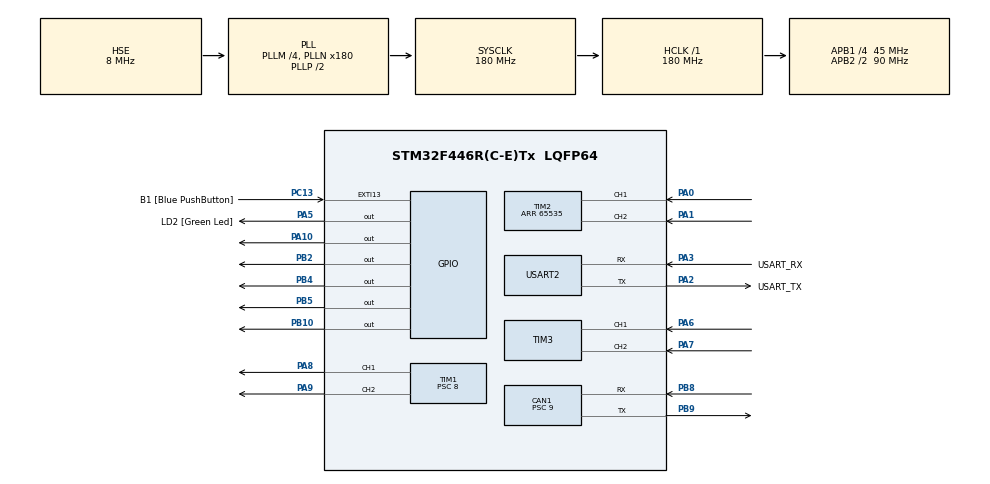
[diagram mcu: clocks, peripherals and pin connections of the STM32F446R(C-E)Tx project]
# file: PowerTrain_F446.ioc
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CAN1.ABOM=ENABLE
CAN1.AWUM=ENABLE
CAN1.BS1=CAN_BS1_7TQ
CAN1.BS2=CAN_BS2_2TQ
CAN1.CalculateBaudRate=500000
CAN1.CalculateTimeBit=2000
CAN1.CalculateTimeQuantum=200.0
CAN1.Prescaler=9
FREERTOS.Tasks01=DriveTask,2,256,StartDriveTask,Default,NULL,Dynamic,NULL,NULL;CanTxTask,0,256,StartCanTxTask,Default,NULL,Dynamic,NULL,NULL
Mcu.Family=STM32F4
Mcu.Name=STM32F446R(C-E)Tx
Mcu.Package=LQFP64
NVIC.CAN1_RX0_IRQn=true\:5\:0\:false\:false\:true\:true\:true\:true\:true
NVIC.PriorityGroup=NVIC_PRIORITYGROUP_4
NVIC.TIM5_IRQn=true\:15\:0\:false\:false\:true\:false\:false\:true\:true
NVIC.TimeBase=TIM5_IRQn
NVIC.TimeBaseIP=TIM5
PA0-WKUP.Signal=S_TIM2_CH1_ETR
PA1.Signal=S_TIM2_CH2
PA10.Signal=GPIO_Output
PA13.GPIO_Label=TMS
PA13.Mode=Serial_Wire
PA13.Signal=SYS_JTMS-SWDIO
PA14.GPIO_Label=TCK
PA14.Mode=Serial_Wire
PA14.Signal=SYS_JTCK-SWCLK
PA2.GPIO_Label=USART_TX
PA2.Mode=Asynchronous
PA2.Signal=USART2_TX
PA3.GPIO_Label=USART_RX
PA3.Mode=Asynchronous
PA3.Signal=USART2_RX
PA5.GPIO_Label=LD2 [Green Led]
PA5.Signal=GPIO_Output
PA6.Signal=S_TIM3_CH1
PA7.Signal=S_TIM3_CH2
PA8.Signal=S_TIM1_CH1
PA9.Signal=S_TIM1_CH2
PB10.Signal=GPIO_Output
PB2.Signal=GPIO_Output
PB3.GPIO_Label=SWO
PB3.Signal=SYS_JTDO-SWO
PB4.Signal=GPIO_Output
PB5.Signal=GPIO_Output
PB8.Mode=CAN_Activate
PB8.Signal=CAN1_RX
PB9.Mode=CAN_Activate
PB9.Signal=CAN1_TX
PC13.GPIO_Label=B1 [Blue PushButton]
PC13.GPIO_ModeDefaultEXTI=GPIO_MODE_IT_FALLING
PC13.Signal=GPXTI13
PC14-OSC32_IN.Mode=LSE-External-Oscillator
PC14-OSC32_IN.Signal=RCC_OSC32_IN
PC15-OSC32_OUT.Mode=LSE-External-Oscillator
PC15-OSC32_OUT.Signal=RCC_OSC32_OUT
PH0-OSC_IN.Mode=HSE-External-Oscillator
PH0-OSC_IN.Signal=RCC_OSC_IN
PH1-OSC_OUT.Mode=HSE-External-Oscillator
PH1-OSC_OUT.Signal=RCC_OSC_OUT
ProjectManager.HeapSize=0x200
ProjectManager.StackSize=0x400
ProjectManager.TargetToolchain=STM32CubeIDE
RCC.48MHZClocksFreq_Value=84000000
RCC.AHBFreq_Value=180000000
RCC.APB1CLKDivider=RCC_HCLK_DIV4
RCC.APB1Freq_Value=45000000
RCC.APB1TimFreq_Value=90000000
RCC.APB2CLKDivider=RCC_HCLK_DIV2
RCC.APB2Freq_Value=90000000
RCC.APB2TimFreq_Value=180000000
RCC.CortexFreq_Value=180000000
RCC.FLatency-AdvancedSettings=FLASH_LATENCY_5
RCC.HCLKFreq_Value=180000000
RCC.HSE_VALUE=8000000
RCC.HSI_VALUE=16000000
RCC.PLLM=4
RCC.PLLN=180
RCC.PLLSourceVirtual=RCC_PLLSOURCE_HSE
RCC.SYSCLKFreq_VALUE=180000000
RCC.SYSCLKSource=RCC_SYSCLKSOURCE_PLLCLK
RCC.USBFreq_Value=180000000
RCC.VCOOutputFreq_Value=360000000
SH.S_TIM1_CH1.0=TIM1_CH1,PWM Generation1 CH1
SH.S_TIM1_CH2.0=TIM1_CH2,PWM Generation2 CH2
SH.S_TIM2_CH1_ETR.0=TIM2_CH1,Encoder_Interface
SH.S_TIM2_CH2.0=TIM2_CH2,Encoder_Interface
SH.S_TIM3_CH1.0=TIM3_CH1,Encoder_Interface
SH.S_TIM3_CH2.0=TIM3_CH2,Encoder_Interface
TIM1.Channel-PWM\ Generation1\ CH1=TIM_CHANNEL_1
TIM1.Channel-PWM\ Generation2\ CH2=TIM_CHANNEL_2
TIM1.Period=999
TIM1.Prescaler=8
TIM2.Period=65535
USART2.VirtualMode=VM_ASYNC
VP_FREERTOS_VS_CMSIS_V1.Mode=CMSIS_V1
VP_SYS_VS_tim5.Mode=TIM5
VP_TIM1_VS_ClockSourceINT.Mode=Internal
board=NUCLEO-F446RE

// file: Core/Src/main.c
/* USER CODE BEGIN Header */
/**
  ******************************************************************************
  * @file           : main.c
  * @brief          : Main program body
  ******************************************************************************
  * @attention
  *
  * Copyright (c) 2026 STMicroelectronics.
  * All rights reserved.
  *
  * This software is licensed under terms that can be found in the LICENSE file
  * in the root directory of this software component.
  * If no LICENSE file comes with this software, it is provided AS-IS.
  *
  ******************************************************************************
  */
/* USER CODE END Header */
#include "main.h"
#include "cmsis_os.h"

/* USER CODE BEGIN Includes */
#include "model_car_net.h"
/* USER CODE END Includes */

CAN_HandleTypeDef hcan1;

TIM_HandleTypeDef htim1;
TIM_HandleTypeDef htim2;
TIM_HandleTypeDef htim3;

UART_HandleTypeDef huart2;

osThreadId DriveTaskHandle;
osThreadId CanTxTaskHandle;
/* USER CODE BEGIN PV */
/* CAN 통신용 구조체 변수 */
struct model_car_net_drive_cmd_t rx_drive_cmd;       // 수신된 주행 명령 저장용
struct model_car_net_drive_status_t tx_drive_status; // 송신할 구동 상태 저장용
struct model_car_net_heartbeat_t rx_heartbeat;       // 수신된 하트비트 저장용
struct model_car_net_gear_status_t rx_gear_status;   // 0x070 기어 상태 추가
struct model_car_net_safe_abort_t rx_safe_abort;     // 0x010 세이프 어보트 확장

/* CAN 송수신 하드웨어 핸들러 및 헤더 */
CAN_RxHeaderTypeDef rx_header;
CAN_TxHeaderTypeDef tx_header;
uint8_t rx_data[8];
uint8_t tx_data[8];
uint32_t tx_mailbox;

/* 하드웨어 테스트용 CAN 송신 변수 */
CAN_TxHeaderTypeDef test_tx_header;
uint8_t test_tx_data[8];
uint32_t test_mailbox;

/* 세이프티 및 페일세이프 관련 변수 */
volatile uint32_t cmd_watchdog_timer = 0; // 인터럽트 공유를 위해 전역으로 이동 및 volatile 적용
uint32_t supervisor_wd_timer = 0; // 하트비트 무응답 시간 누적용 (ms 단위 카운트)
uint8_t last_alive_counter = 0;   // 이전 하트비트 카운트 값 백업
bool is_emergency_active = false; // 현재 비상 정지 상태 여부 플래그
uint8_t current_gear = 0;         // 0=P, 1=D, 2=R 로컬 백업용

/* 엔코더 측정 및 속도 계산 변수 */
int16_t left_encoder_count = 0;
int16_t right_encoder_count = 0;
double current_rpm = 0.0;

/* 이전 듀티 저장용 전역 변수 */
uint32_t prev_left_duty = 0;
uint32_t prev_right_duty = 0;
/* USER CODE END PV */

void SystemClock_Config(void);
static void MX_GPIO_Init(void);
static void MX_USART2_UART_Init(void);
static void MX_CAN1_Init(void);
static void MX_TIM1_Init(void);
static void MX_TIM2_Init(void);
static void MX_TIM3_Init(void);
void StartDriveTask(void const * argument);
void StartCanTxTask(void const * argument);

/* USER CODE BEGIN PFP */
double calculate_actual_rpm(int16_t left_counts, int16_t right_counts);
/* USER CODE END PFP */

int main(void)
{

  /* MCU Configuration--------------------------------------------------------*/

  /* Reset of all peripherals, Initializes the Flash interface and the Systick. */
  HAL_Init();

  /* Configure the system clock */
  SystemClock_Config();

  /* Initialize all configured peripherals */
  MX_GPIO_Init();
  MX_USART2_UART_Init();
  MX_CAN1_Init();
  MX_TIM1_Init();
  MX_TIM2_Init();
  MX_TIM3_Init();
  /* USER CODE BEGIN 2 */
  /* ====================================================================
 * 1. CAN 하드웨어 활성화 및 필터 마스터 세팅 (PCAN-View 통신 개통용)
 * ==================================================================== */

// 모든 CAN ID를 필터링 없이 다 받아들이는 '마스터 오픈 필터' 설정
CAN_FilterTypeDef canFilter;
canFilter.FilterBank = 0;
canFilter.FilterMode = CAN_FILTERMODE_IDMASK;
canFilter.FilterScale = CAN_FILTERSCALE_32BIT;
canFilter.FilterIdHigh = 0x0000;
canFilter.FilterIdLow = 0x0000;
canFilter.FilterMaskIdHigh = 0x0000;
canFilter.FilterMaskIdLow = 0x0000;
canFilter.FilterFIFOAssignment = CAN_RX_FIFO0;
canFilter.FilterActivation = ENABLE;
canFilter.SlaveStartFilterBank = 14;

if (HAL_CAN_ConfigFilter(&hcan1, &canFilter) != HAL_OK) {
	Error_Handler(); // 필터 설정 실패 시 잠금
}

// CAN 외장 하드웨어 선로 전격 개통! (이게 켜져야 PCAN Receive가 뚫립니다)
if (HAL_CAN_Start(&hcan1) != HAL_OK) {
	Error_Handler();
}

// CAN 수신 인터럽트(FIFO0 Pending) 활성화
if (HAL_CAN_ActivateNotification(&hcan1, CAN_IT_RX_FIFO0_MSG_PENDING) != HAL_OK) {
	Error_Handler();
}

// 송신 헤더 설정
//tx_header.StdId = 0x102; // F446용 테스트 ID
//tx_header.RTR = CAN_RTR_DATA;
//tx_header.IDE = CAN_ID_STD;
//tx_header.DLC = 8;
//tx_header.TransmitGlobalTime = DISABLE;

/* ====================================================================
 * 2. 타이머 하드웨어 기동 (좌/우 모터 및 엔코더 작동 시작)
 * ==================================================================== */
// (1) TIM1 PWM 출력 채널 가동 (모터 속도 제어선 활성화)
HAL_TIM_PWM_Start(&htim1, TIM_CHANNEL_1); // PA8 (PWMA)
HAL_TIM_PWM_Start(&htim1, TIM_CHANNEL_2); // PA9 (PWMB)

// (2) TIM2, TIM3 엔코더 카운터 하드웨어 감시 기동
HAL_TIM_Encoder_Start(&htim2, TIM_CHANNEL_ALL); // 왼쪽 바퀴 엔코더 감시 시작
HAL_TIM_Encoder_Start(&htim3, TIM_CHANNEL_ALL); // 오른쪽 바퀴 엔코더 감시 시작
  /* USER CODE END 2 */

  /* Create the thread(s) */
  /* definition and creation of DriveTask */
  osThreadDef(DriveTask, StartDriveTask, osPriorityHigh, 0, 256);
  DriveTaskHandle = osThreadCreate(osThread(DriveTask), NULL);

  /* definition and creation of CanTxTask */
  osThreadDef(CanTxTask, StartCanTxTask, osPriorityNormal, 0, 256);
  CanTxTaskHandle = osThreadCreate(osThread(CanTxTask), NULL);

  /* Start scheduler */
  osKernelStart();

  /* We should never get here as control is now taken by the scheduler */

  /* Infinite loop */
  while (1)
  {

  }
}

void SystemClock_Config(void)
{
  RCC_OscInitTypeDef RCC_OscInitStruct = {0};
  RCC_ClkInitTypeDef RCC_ClkInitStruct = {0};

  /** Configure the main internal regulator output voltage
  */
  __HAL_RCC_PWR_CLK_ENABLE();
  __HAL_PWR_VOLTAGESCALING_CONFIG(PWR_REGULATOR_VOLTAGE_SCALE1);

  /** Initializes the RCC Oscillators according to the specified parameters
  * in the RCC_OscInitTypeDef structure.
  */
  RCC_OscInitStruct.OscillatorType = RCC_OSCILLATORTYPE_HSE;
  RCC_OscInitStruct.HSEState = RCC_HSE_ON;
  RCC_OscInitStruct.PLL.PLLState = RCC_PLL_ON;
  RCC_OscInitStruct.PLL.PLLSource = RCC_PLLSOURCE_HSE;
  RCC_OscInitStruct.PLL.PLLM = 4;
  RCC_OscInitStruct.PLL.PLLN = 180;
  RCC_OscInitStruct.PLL.PLLP = RCC_PLLP_DIV2;
  RCC_OscInitStruct.PLL.PLLQ = 2;
  RCC_OscInitStruct.PLL.PLLR = 2;
  if (HAL_RCC_OscConfig(&RCC_OscInitStruct) != HAL_OK)
  {
    Error_Handler();
  }

  /** Activate the Over-Drive mode
  */
  if (HAL_PWREx_EnableOverDrive() != HAL_OK)
  {
    Error_Handler();
  }

  /** Initializes the CPU, AHB and APB buses clocks
  */
  RCC_ClkInitStruct.ClockType = RCC_CLOCKTYPE_HCLK|RCC_CLOCKTYPE_SYSCLK
                              |RCC_CLOCKTYPE_PCLK1|RCC_CLOCKTYPE_PCLK2;
  RCC_ClkInitStruct.SYSCLKSource = RCC_SYSCLKSOURCE_PLLCLK;
  RCC_ClkInitStruct.AHBCLKDivider = RCC_SYSCLK_DIV1;
  RCC_ClkInitStruct.APB1CLKDivider = RCC_HCLK_DIV4;
  RCC_ClkInitStruct.APB2CLKDivider = RCC_HCLK_DIV2;

  if (HAL_RCC_ClockConfig(&RCC_ClkInitStruct, FLASH_LATENCY_5) != HAL_OK)
  {
    Error_Handler();
  }
}

static void MX_CAN1_Init(void)
{

  hcan1.Instance = CAN1;
  hcan1.Init.Prescaler = 9;
  hcan1.Init.Mode = CAN_MODE_NORMAL;
  hcan1.Init.SyncJumpWidth = CAN_SJW_1TQ;
  hcan1.Init.TimeSeg1 = CAN_BS1_7TQ;
  hcan1.Init.TimeSeg2 = CAN_BS2_2TQ;
  hcan1.Init.TimeTriggeredMode = DISABLE;
  hcan1.Init.AutoBusOff = ENABLE;
  hcan1.Init.AutoWakeUp = ENABLE;
  hcan1.Init.AutoRetransmission = DISABLE;
  hcan1.Init.ReceiveFifoLocked = DISABLE;
  hcan1.Init.TransmitFifoPriority = DISABLE;
  if (HAL_CAN_Init(&hcan1) != HAL_OK)
  {
    Error_Handler();
  }

}

static void MX_TIM1_Init(void)
{

  TIM_ClockConfigTypeDef sClockSourceConfig = {0};
  TIM_MasterConfigTypeDef sMasterConfig = {0};
  TIM_OC_InitTypeDef sConfigOC = {0};
  TIM_BreakDeadTimeConfigTypeDef sBreakDeadTimeConfig = {0};

  htim1.Instance = TIM1;
  htim1.Init.Prescaler = 8;
  htim1.Init.CounterMode = TIM_COUNTERMODE_UP;
  htim1.Init.Period = 999;
  htim1.Init.ClockDivision = TIM_CLOCKDIVISION_DIV1;
  htim1.Init.RepetitionCounter = 0;
  htim1.Init.AutoReloadPreload = TIM_AUTORELOAD_PRELOAD_DISABLE;
  if (HAL_TIM_Base_Init(&htim1) != HAL_OK)
  {
    Error_Handler();
  }
  sClockSourceConfig.ClockSource = TIM_CLOCKSOURCE_INTERNAL;
  if (HAL_TIM_ConfigClockSource(&htim1, &sClockSourceConfig) != HAL_OK)
  {
    Error_Handler();
  }
  if (HAL_TIM_PWM_Init(&htim1) != HAL_OK)
  {
    Error_Handler();
  }
  sMasterConfig.MasterOutputTrigger = TIM_TRGO_RESET;
  sMasterConfig.MasterSlaveMode = TIM_MASTERSLAVEMODE_DISABLE;
  if (HAL_TIMEx_MasterConfigSynchronization(&htim1, &sMasterConfig) != HAL_OK)
  {
    Error_Handler();
  }
  sConfigOC.OCMode = TIM_OCMODE_PWM1;
  sConfigOC.Pulse = 0;
  sConfigOC.OCPolarity = TIM_OCPOLARITY_HIGH;
  sConfigOC.OCNPolarity = TIM_OCNPOLARITY_HIGH;
  sConfigOC.OCFastMode = TIM_OCFAST_DISABLE;
  sConfigOC.OCIdleState = TIM_OCIDLESTATE_RESET;
  sConfigOC.OCNIdleState = TIM_OCNIDLESTATE_RESET;
  if (HAL_TIM_PWM_ConfigChannel(&htim1, &sConfigOC, TIM_CHANNEL_1) != HAL_OK)
  {
    Error_Handler();
  }
  if (HAL_TIM_PWM_ConfigChannel(&htim1, &sConfigOC, TIM_CHANNEL_2) != HAL_OK)
  {
    Error_Handler();
  }
  sBreakDeadTimeConfig.OffStateRunMode = TIM_OSSR_DISABLE;
  sBreakDeadTimeConfig.OffStateIDLEMode = TIM_OSSI_DISABLE;
  sBreakDeadTimeConfig.LockLevel = TIM_LOCKLEVEL_OFF;
  sBreakDeadTimeConfig.DeadTime = 0;
  sBreakDeadTimeConfig.BreakState = TIM_BREAK_DISABLE;
  sBreakDeadTimeConfig.BreakPolarity = TIM_BREAKPOLARITY_HIGH;
  sBreakDeadTimeConfig.AutomaticOutput = TIM_AUTOMATICOUTPUT_DISABLE;
  if (HAL_TIMEx_ConfigBreakDeadTime(&htim1, &sBreakDeadTimeConfig) != HAL_OK)
  {
    Error_Handler();
  }
  HAL_TIM_MspPostInit(&htim1);

}

static void MX_TIM2_Init(void)
{

  TIM_Encoder_InitTypeDef sConfig = {0};
  TIM_MasterConfigTypeDef sMasterConfig = {0};

  htim2.Instance = TIM2;
  htim2.Init.Prescaler = 0;
  htim2.Init.CounterMode = TIM_COUNTERMODE_UP;
  htim2.Init.Period = 65535;
  htim2.Init.ClockDivision = TIM_CLOCKDIVISION_DIV1;
  htim2.Init.AutoReloadPreload = TIM_AUTORELOAD_PRELOAD_DISABLE;
  sConfig.EncoderMode = TIM_ENCODERMODE_TI1;
  sConfig.IC1Polarity = TIM_ICPOLARITY_RISING;
  sConfig.IC1Selection = TIM_ICSELECTION_DIRECTTI;
  sConfig.IC1Prescaler = TIM_ICPSC_DIV1;
  sConfig.IC1Filter = 0;
  sConfig.IC2Polarity = TIM_ICPOLARITY_RISING;
  sConfig.IC2Selection = TIM_ICSELECTION_DIRECTTI;
  sConfig.IC2Prescaler = TIM_ICPSC_DIV1;
  sConfig.IC2Filter = 0;
  if (HAL_TIM_Encoder_Init(&htim2, &sConfig) != HAL_OK)
  {
    Error_Handler();
  }
  sMasterConfig.MasterOutputTrigger = TIM_TRGO_RESET;
  sMasterConfig.MasterSlaveMode = TIM_MASTERSLAVEMODE_DISABLE;
  if (HAL_TIMEx_MasterConfigSynchronization(&htim2, &sMasterConfig) != HAL_OK)
  {
    Error_Handler();
  }

}

static void MX_TIM3_Init(void)
{

  TIM_Encoder_InitTypeDef sConfig = {0};
  TIM_MasterConfigTypeDef sMasterConfig = {0};

  htim3.Instance = TIM3;
  htim3.Init.Prescaler = 0;
  htim3.Init.CounterMode = TIM_COUNTERMODE_UP;
  htim3.Init.Period = 65535;
  htim3.Init.ClockDivision = TIM_CLOCKDIVISION_DIV1;
  htim3.Init.AutoReloadPreload = TIM_AUTORELOAD_PRELOAD_DISABLE;
  sConfig.EncoderMode = TIM_ENCODERMODE_TI1;
  sConfig.IC1Polarity = TIM_ICPOLARITY_RISING;
  sConfig.IC1Selection = TIM_ICSELECTION_DIRECTTI;
  sConfig.IC1Prescaler = TIM_ICPSC_DIV1;
  sConfig.IC1Filter = 0;
  sConfig.IC2Polarity = TIM_ICPOLARITY_RISING;
  sConfig.IC2Selection = TIM_ICSELECTION_DIRECTTI;
  sConfig.IC2Prescaler = TIM_ICPSC_DIV1;
  sConfig.IC2Filter = 0;
  if (HAL_TIM_Encoder_Init(&htim3, &sConfig) != HAL_OK)
  {
    Error_Handler();
  }
  sMasterConfig.MasterOutputTrigger = TIM_TRGO_RESET;
  sMasterConfig.MasterSlaveMode = TIM_MASTERSLAVEMODE_DISABLE;
  if (HAL_TIMEx_MasterConfigSynchronization(&htim3, &sMasterConfig) != HAL_OK)
  {
    Error_Handler();
  }

}

static void MX_USART2_UART_Init(void)
{

  huart2.Instance = USART2;
  huart2.Init.BaudRate = 115200;
  huart2.Init.WordLength = UART_WORDLENGTH_8B;
  huart2.Init.StopBits = UART_STOPBITS_1;
  huart2.Init.Parity = UART_PARITY_NONE;
  huart2.Init.Mode = UART_MODE_TX_RX;
  huart2.Init.HwFlowCtl = UART_HWCONTROL_NONE;
  huart2.Init.OverSampling = UART_OVERSAMPLING_16;
  if (HAL_UART_Init(&huart2) != HAL_OK)
  {
    Error_Handler();
  }

}

static void MX_GPIO_Init(void)
{
  GPIO_InitTypeDef GPIO_InitStruct = {0};

  /* GPIO Ports Clock Enable */
  __HAL_RCC_GPIOC_CLK_ENABLE();
  __HAL_RCC_GPIOH_CLK_ENABLE();
  __HAL_RCC_GPIOA_CLK_ENABLE();
  __HAL_RCC_GPIOB_CLK_ENABLE();

  /*Configure GPIO pin Output Level */
  HAL_GPIO_WritePin(GPIOA, LD2_Pin|GPIO_PIN_10, GPIO_PIN_RESET);

  /*Configure GPIO pin Output Level */
  HAL_GPIO_WritePin(GPIOB, GPIO_PIN_2|GPIO_PIN_10|GPIO_PIN_4|GPIO_PIN_5, GPIO_PIN_RESET);

  /*Configure GPIO pin : B1_Pin */
  GPIO_InitStruct.Pin = B1_Pin;
  GPIO_InitStruct.Mode = GPIO_MODE_IT_FALLING;
  GPIO_InitStruct.Pull = GPIO_NOPULL;
  HAL_GPIO_Init(B1_GPIO_Port, &GPIO_InitStruct);

  /*Configure GPIO pins : LD2_Pin PA10 */
  GPIO_InitStruct.Pin = LD2_Pin|GPIO_PIN_10;
  GPIO_InitStruct.Mode = GPIO_MODE_OUTPUT_PP;
  GPIO_InitStruct.Pull = GPIO_NOPULL;
  GPIO_InitStruct.Speed = GPIO_SPEED_FREQ_LOW;
  HAL_GPIO_Init(GPIOA, &GPIO_InitStruct);

  /*Configure GPIO pins : PB2 PB10 PB4 PB5 */
  GPIO_InitStruct.Pin = GPIO_PIN_2|GPIO_PIN_10|GPIO_PIN_4|GPIO_PIN_5;
  GPIO_InitStruct.Mode = GPIO_MODE_OUTPUT_PP;
  GPIO_InitStruct.Pull = GPIO_NOPULL;
  GPIO_InitStruct.Speed = GPIO_SPEED_FREQ_LOW;
  HAL_GPIO_Init(GPIOB, &GPIO_InitStruct);

}

/* USER CODE BEGIN 4 */
double calculate_actual_rpm(int16_t left_counts, int16_t right_counts)
{
    // 두 바퀴의 평균 펄스 변화량
    double avg_counts = (double)(left_counts + right_counts) / 2.0;

    /* [RPM 계산 가이드라인]
     * JBG37-520 모터의 감속비가 예를 들어 1:30이고 홀센서가 한 바퀴에 11펄스를 뿜는다면,
     * 4체배 시 바퀴 1회전당 총 펄스(PPR) = 11 * 4 * 30 = 1320 펄스입니다.
     * 10ms(0.01초) 주기로 셈하므로: RPM = (avg_counts / 1320) * (60초 / 0.01초)
     */
    double ppr = 1320.0; // 팀의 모터 상세 스펙에 맞춰 수정 가능
    double actual_rpm = (avg_counts / ppr) * 6000.0;

    return actual_rpm;
}

void HAL_CAN_RxFifo0MsgPendingCallback(CAN_HandleTypeDef *hcan)
{

	if (HAL_CAN_GetRxMessage(hcan, CAN_RX_FIFO0, &rx_header, rx_data) != HAL_OK) return;

	HAL_GPIO_TogglePin(LD2_GPIO_Port, LD2_Pin); // 정상 수신 알림 점멸

	// 1. 비상 정지 수신
	if (rx_header.StdId == MODEL_CAR_NET_SAFE_ABORT_FRAME_ID) {
		model_car_net_safe_abort_unpack(&rx_safe_abort, rx_data, rx_header.DLC);
		if (rx_safe_abort.stop_flag == 1) {
			is_emergency_active = true;
		} else if (rx_safe_abort.stop_flag == 0) {
			// (3)번 문제 해결: stop_flag가 명시적으로 0이 들어오면 비상 정지 해제!
			is_emergency_active = false;
		}
	}
	// 2. 기어 상태 수신
	else if (rx_header.StdId == MODEL_CAR_NET_GEAR_STATUS_FRAME_ID) {
		model_car_net_gear_status_unpack(&rx_gear_status, rx_data, rx_header.DLC);
		current_gear = rx_gear_status.gear;
	}
	// 3. 주행 명령 수신
	else if (rx_header.StdId == MODEL_CAR_NET_DRIVE_CMD_FRAME_ID) {
		model_car_net_drive_cmd_unpack(&rx_drive_cmd, rx_data, rx_header.DLC);
		cmd_watchdog_timer = 0; // (1),(2)번 문제 해결을 위한 통신 와치독 타이머 리셋!
	}
}
/* USER CODE END 4 */

void StartDriveTask(void const * argument)
{
  /* USER CODE BEGIN 5 */
  /* Infinite loop */
  for(;;)
  {
    osDelay(10);

	if (cmd_watchdog_timer < 1000) {
		cmd_watchdog_timer += 10;
	}

	// 2. [엔코더 데이터 수집] 좌/우 타이머 카운터 레지스터에서 펄스 값 실시간 획득
	left_encoder_count  = (int16_t)__HAL_TIM_GET_COUNTER(&htim2);
	right_encoder_count = (int16_t)__HAL_TIM_GET_COUNTER(&htim3);
	__HAL_TIM_SET_COUNTER(&htim2, 0);
	__HAL_TIM_SET_COUNTER(&htim3, 0);

	// 실시간 실제 RPM 산출
	current_rpm = calculate_actual_rpm(left_encoder_count, right_encoder_count);

	// [최우선순위 안전 제어] 비상정지 락이 걸렸거나, 300ms 동안 주행명령(0x100)이 끊겼다면 (Timeout)?
	if (is_emergency_active || cmd_watchdog_timer > 300)
	{
		// 모터 즉각 정지 및 Short Brake 잠금 발동
		HAL_GPIO_WritePin(GPIOB, GPIO_PIN_5, GPIO_PIN_SET);   // IN1
		HAL_GPIO_WritePin(GPIOB, GPIO_PIN_4, GPIO_PIN_SET);   // IN2
		HAL_GPIO_WritePin(GPIOB, GPIO_PIN_10, GPIO_PIN_SET);  // IN3
		HAL_GPIO_WritePin(GPIOA, GPIO_PIN_10, GPIO_PIN_SET);  // IN4
		__HAL_TIM_SET_COMPARE(&htim1, TIM_CHANNEL_1, 0);
		__HAL_TIM_SET_COMPARE(&htim1, TIM_CHANNEL_2, 0);

		// ★ [Fail-Safe 가드 레일 보완] 비상 정지 복귀 시 Ramp 튐 현상을 막기 위해 백업 데이터 리셋
		prev_left_duty = 0;
		prev_right_duty = 0;

		// 위급 상황 시 즉각 응답 피드백 송신 (예외적으로 태스크 대기 없이 다이렉트 송신 처리)
		tx_drive_status.current_velocity = 0;
		tx_drive_status.current_gear_status = current_gear;
		tx_drive_status.drive_motor_current = 0;

		model_car_net_drive_status_pack(tx_data, &tx_drive_status, sizeof(tx_data));
		tx_header.StdId = MODEL_CAR_NET_DRIVE_STATUS_FRAME_ID; // 0x200
		tx_header.RTR = CAN_RTR_DATA;
		tx_header.IDE = CAN_ID_STD;
		tx_header.DLC = MODEL_CAR_NET_DRIVE_STATUS_LENGTH;
		HAL_CAN_AddTxMessage(&hcan1, &tx_header, tx_data, &tx_mailbox);

		osDelay(10);
		continue; // 아래 주행 로직을 스킵하고 루프 처음으로 점프
	}

	// 3. [일반 주행 제어] 기어 상태 인터록 및 상하위 속도 연산
	double brake_factor = (100.0 - (double)rx_drive_cmd.brake_depth) / 100.0;
	double v_base = (double)rx_drive_cmd.target_velocity * brake_factor;

	double K = 0.5; // 필요시 민감도를 2.5 등으로 올려서 테스트하세요!
	double v_steer = (double)rx_drive_cmd.steering_angle * K;

	double target_left_rpm  = v_base + v_steer;
	double target_right_rpm = v_base - v_steer;

	if (rx_drive_cmd.brake_depth >= 100) {
		target_left_rpm = 0; target_right_rpm = 0;
	}

	if (target_left_rpm < 0)  target_left_rpm = 0;
	if (target_right_rpm < 0) target_right_rpm = 0;

	uint32_t left_duty  = ((uint32_t)target_left_rpm * 999) / 3000;
	uint32_t right_duty = ((uint32_t)target_right_rpm * 999) / 3000;

	if (left_duty > 999)  left_duty = 999;
	if (right_duty > 999) right_duty = 999;

	#define MAX_DUTY_STEP 15
	// 왼쪽 바퀴 Ramp 적용
	if (left_duty > prev_left_duty) {
		if ((left_duty - prev_left_duty) > MAX_DUTY_STEP) left_duty = prev_left_duty + MAX_DUTY_STEP;
	} else if (left_duty < prev_left_duty) {
		if ((prev_left_duty - left_duty) > MAX_DUTY_STEP) left_duty = prev_left_duty - MAX_DUTY_STEP;
	}

	// 오른쪽 바퀴 Ramp 적용
	if (right_duty > prev_right_duty) {
		if ((right_duty - prev_right_duty) > MAX_DUTY_STEP) right_duty = prev_right_duty + MAX_DUTY_STEP;
	} else if (right_duty < prev_right_duty) {
		if ((prev_right_duty - right_duty) > MAX_DUTY_STEP) right_duty = prev_right_duty - MAX_DUTY_STEP;
	}

	// 다음 루프를 위해 현재 값 백업
	prev_left_duty = left_duty;
	prev_right_duty = right_duty;

	// [일반 주행 제어] 기어 상태 인터록 검증
	if (current_gear == 1) // 1 = Drive(D)
	{
		HAL_GPIO_WritePin(GPIOB, GPIO_PIN_5, GPIO_PIN_SET);   // AIN1 = HIGH
		HAL_GPIO_WritePin(GPIOB, GPIO_PIN_4, GPIO_PIN_RESET); // AIN2 = LOW
		HAL_GPIO_WritePin(GPIOB, GPIO_PIN_10, GPIO_PIN_SET);  // BIN1 = HIGH
		HAL_GPIO_WritePin(GPIOA, GPIO_PIN_10, GPIO_PIN_RESET); // BIN2 = LOW

		__HAL_TIM_SET_COMPARE(&htim1, TIM_CHANNEL_1, left_duty);
		__HAL_TIM_SET_COMPARE(&htim1, TIM_CHANNEL_2, right_duty);
	}
	else if (current_gear == 2) // 2 = Reverse
	{
		HAL_GPIO_WritePin(GPIOB, GPIO_PIN_5, GPIO_PIN_RESET);   // AIN1 = LOW
		HAL_GPIO_WritePin(GPIOB, GPIO_PIN_4, GPIO_PIN_SET);     // AIN2 = HIGH
		HAL_GPIO_WritePin(GPIOB, GPIO_PIN_10, GPIO_PIN_RESET);  // BIN1 = LOW
		HAL_GPIO_WritePin(GPIOA, GPIO_PIN_10, GPIO_PIN_SET);    // BIN2 = HIGH

		__HAL_TIM_SET_COMPARE(&htim1, TIM_CHANNEL_1, left_duty);
		__HAL_TIM_SET_COMPARE(&htim1, TIM_CHANNEL_2, right_duty);
	}
	else // P(0) 모드이거나 예외 상태 시 안전 정지
	{
		HAL_GPIO_WritePin(GPIOB, GPIO_PIN_5, GPIO_PIN_SET);
		HAL_GPIO_WritePin(GPIOB, GPIO_PIN_4, GPIO_PIN_SET);
		HAL_GPIO_WritePin(GPIOB, GPIO_PIN_10, GPIO_PIN_SET);
		HAL_GPIO_WritePin(GPIOA, GPIO_PIN_10, GPIO_PIN_SET);

		__HAL_TIM_SET_COMPARE(&htim1, TIM_CHANNEL_1, 0);
		__HAL_TIM_SET_COMPARE(&htim1, TIM_CHANNEL_2, 0);
	}

	osDelay(10);
  }
  /* USER CODE END 5 */
}

void StartCanTxTask(void const * argument)
{
  /* USER CODE BEGIN StartCanTxTask */
  /* Infinite loop */
  for(;;)
  {

    // 1. 구동 태스크와 인터럽트가 실시간 갱신하는 글로벌 전역 변수를 안전하게 로컬로 스냅샷 복사
	int16_t local_rpm = (int16_t)current_rpm;
	uint8_t local_gear = current_gear;

	// 2. 비상 정지나 타임아웃 상태가 아닐 때만 10ms 정주기 피드백 역송신 수행
	if (!is_emergency_active && cmd_watchdog_timer <= 300){
		// 피드백 데이터 빌드: 속도는 0, 현재 기어 상태 및 에러 플래그 결합 송신
		tx_drive_status.current_velocity = local_rpm;
		tx_drive_status.current_gear_status = local_gear;
		tx_drive_status.drive_motor_current = 0;

		// 0x200 Drive_Status CAN 송신 함수 호출 (10ms 주기 세이프티 송신)
		model_car_net_drive_status_pack(tx_data, &tx_drive_status, sizeof(tx_data));

		tx_header.StdId = MODEL_CAR_NET_DRIVE_STATUS_FRAME_ID; // 0x200
		tx_header.RTR = CAN_RTR_DATA;
		tx_header.IDE = CAN_ID_STD;
		tx_header.DLC = MODEL_CAR_NET_DRIVE_STATUS_LENGTH;     // 8u
		HAL_CAN_AddTxMessage(&hcan1, &tx_header, tx_data, &tx_mailbox);
	}
    osDelay(10);
  }
  /* USER CODE END StartCanTxTask */
}

void HAL_TIM_PeriodElapsedCallback(TIM_HandleTypeDef *htim)
{
  if (htim->Instance == TIM5)
  {
    HAL_IncTick();
  }
}

void Error_Handler(void)
{
  __disable_irq();
  while (1)
  {
  }
}
